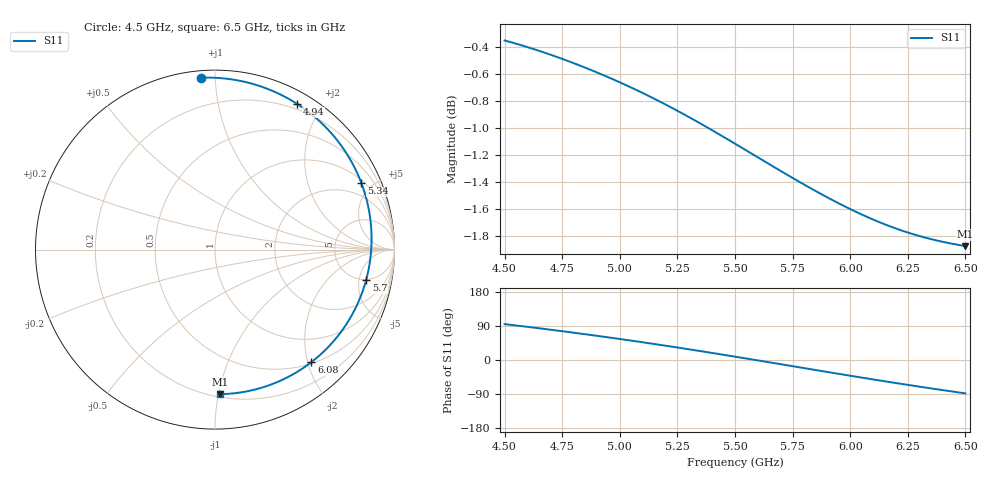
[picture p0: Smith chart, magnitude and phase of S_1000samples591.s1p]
! TOUCHSTONE file generated by CST MICROWAVE STUDIO
! Date and time: Fri Oct 28 17:09:27 2022
! Project name: L.cst
! Parameters = {Di=1.27; Epsilon_r=1.56; InnerDiameter=1.27; Length=2; Lf=10; Lg=60; OuterConductorThickness=0.2921; OuterDiameter=3.6; Wf=3; Wp=41.2; de=1.5; df=6.8; g=0.8; gx=3.25507; gy=3.77933; h=2.34; hf=1.524; px=10.0791; py=8.46605; w=9.7; wx=6.824; wy=4.68672}
! Header version: 2018
! Port assignment regex: !\s*Touchstone port\s*([0-9]+)\s*=\s*(CST MWS port|CST DS port)\s*([0-9]+|Zmin|Zmax)\s*\(\"(.*)\"\)(\s*mode\s*([0-9]+))?.*
! Touchstone port assignment:
! Touchstone port 1 = CST MWS port 1 ("")
# GHz S DB R 50
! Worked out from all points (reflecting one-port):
!   101 points, 4.5 GHz to 6.5 GHz, reference 50 ohm
!   lowest |S11| = -1.9 dB at 6.5 GHz (marker M1), VSWR 9.29, Z = 11 - j50.5 ohm
!   phase of S11 starts at 95 deg and turns -183 deg over the sweep
!   S11 on the Smith chart (normalised r, x): 4.5 GHz: 0.04, +0.92; 4.94 GHz: 0.14, +1.71; 5.34 GHz: 1.15, +4.33; 5.7 GHz: 4.95, -6.34; 6.08 GHz: 0.53, -2.07; 6.5 GHz: 0.22, -1.01
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4.5  -0.35 94.7
4.58  -0.39 88.9
4.64  -0.42 84.4
4.76  -0.49 75.2
4.86  -0.56 67.2
4.94  -0.61 60.5
5  -0.66 55.4
5.06  -0.71 50.2
5.12  -0.76 44.9
5.2  -0.83 37.6
5.26  -0.88 32.0
5.34  -0.96 24.4
5.42  -1.03 16.7
5.5  -1.12 8.8
5.6  -1.22 -1.2
5.7  -1.32 -11.3
5.76  -1.38 -17.3
5.82  -1.44 -23.4
5.88  -1.50 -29.5
5.94  -1.55 -35.5
6  -1.60 -41.5
6.08  -1.67 -49.4
6.16  -1.72 -57.1
6.26  -1.78 -66.6
6.32  -1.81 -72.1
6.38  -1.84 -77.5
6.44  -1.86 -82.9
6.5  -1.88 -88.1
